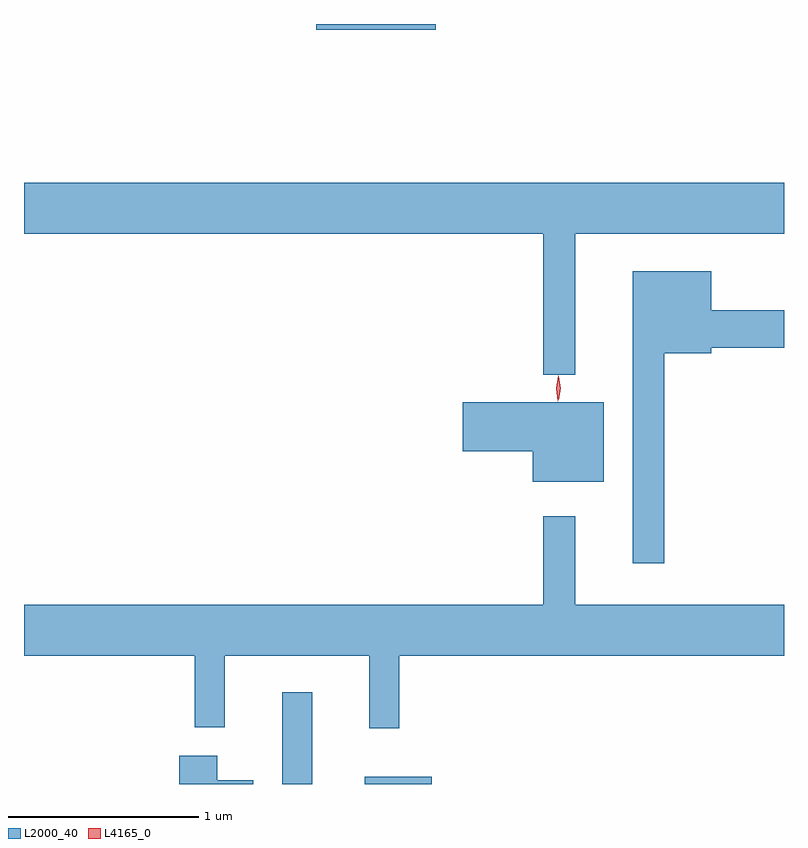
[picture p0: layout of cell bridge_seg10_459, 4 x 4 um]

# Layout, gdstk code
import gdstk
lib = gdstk.Library(unit=1e-6, precision=1e-09)
def R(c, l, rs):  # rectangles x0, y0, x1, y1
    for r in rs: c.add(gdstk.rectangle(r[:2], r[2:], *l))
def P(c, l, *ps):  # polygons
    for p in ps: c.add(gdstk.Polygon(p, *l))
L2000_40 = (2000, 40)
L4165_0 = (4165, 0)

bridge_seg10_459 = lib.new_cell('bridge_seg10_459')
R(bridge_seg10_459, L2000_40, [(960.266,2150.98,960.424,2151.463), (960.701,2150.98,961.054,2151.019), (960.446,2154.951,961.074,2154.98)])
P(bridge_seg10_459, L2000_40, [(961.809,2153.876),(962.908,2153.876),(962.908,2154.144),(958.908,2154.144),(958.908,2153.876),(961.641,2153.876),(961.641,2153.133),(961.809,2153.133)],
  [(962.279,2153.246),(962.524,2153.246),(962.524,2153.276),(962.908,2153.276),(962.908,2153.474),(962.524,2153.474),(962.524,2153.679),(962.111,2153.679),(962.111,2152.143),(962.279,2152.143)],
  [(961.959,2152.989),(961.216,2152.989),(961.216,2152.731),(961.586,2152.731),(961.586,2152.571),(961.959,2152.571)],
  [(960.884,2151.656),(962.908,2151.656),(962.908,2151.924),(961.809,2151.924),(961.809,2152.388),(961.641,2152.388),(961.641,2151.924),(958.908,2151.924),(958.908,2151.656),(959.806,2151.656),(959.806,2151.278),(959.964,2151.278),(959.964,2151.656),(960.726,2151.656),(960.726,2151.273),(960.884,2151.273)],
  [(960.114,2150.999),(959.924,2150.999),(959.924,2151.129),(959.726,2151.129),(959.726,2150.98),(960.114,2150.98)])
P(bridge_seg10_459, L4165_0, [(961.717,2152.994),(961.709,2153.062),(961.719,2153.13),(961.72,2153.13),(961.72,2153.13),(961.729,2153.062),(961.718,2152.994),(961.718,2152.994)],
  [(961.722,2153),(961.722,2153),(961.712,2153.064),(961.722,2153.126),(961.722,2153.127),(961.723,2153.126),(961.732,2153.064),(961.723,2153)])

lib.write_gds('bridge_seg10_459.gds')
